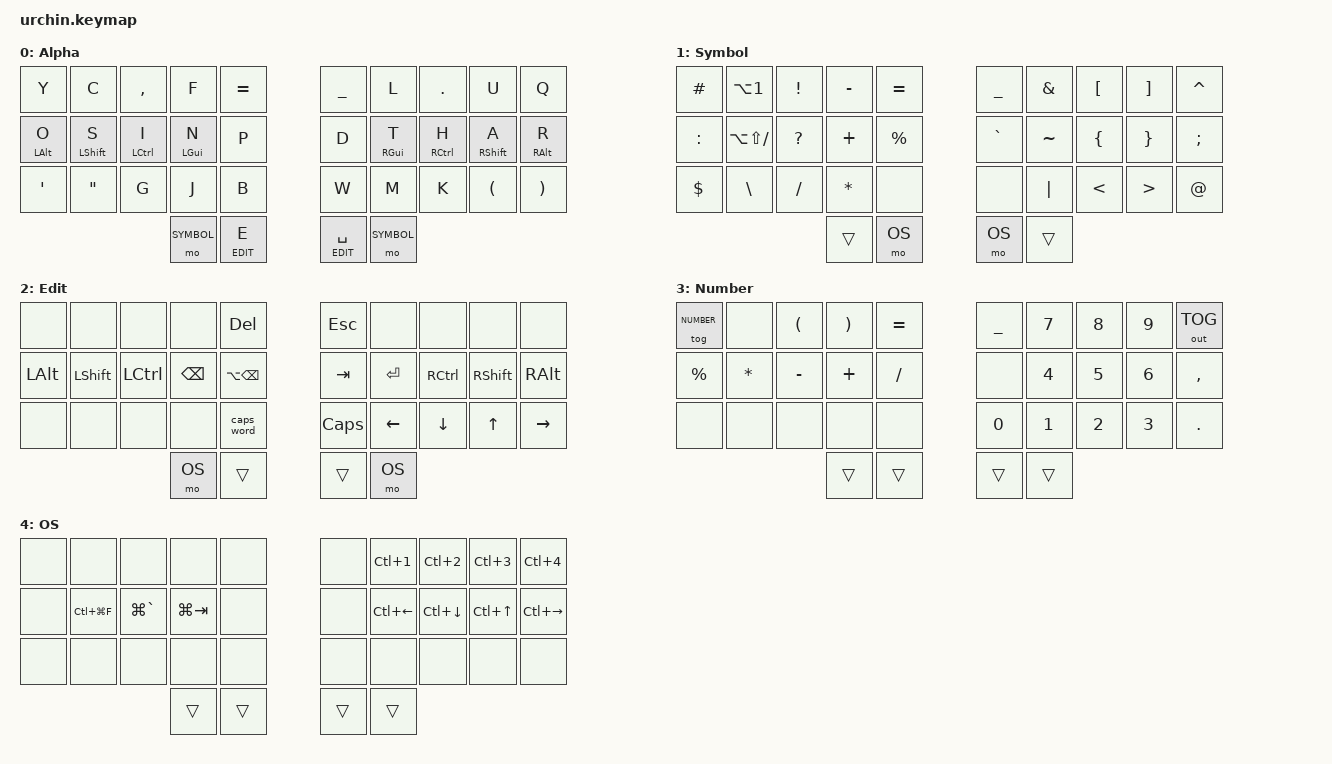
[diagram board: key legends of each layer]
/*
 * Urchin 34-key — Ztron base, macOS (ABC), EN/ES prose + Python
 *
 * SPDX-License-Identifier: MIT
 *
 * Key positions (row-major), as used by every positional list below:
 *
 *   0  1  2  3  4        5  6  7  8  9
 *  10 11 12 13 14       15 16 17 18 19
 *  20 21 22 23 24       25 26 27 28 29
 *           30 31       32 33
 *
 * Left:  0 pinky, 1 ring, 2 middle, 3 index, 4 inner index
 * Right: 5 inner index, 6 index, 7 middle, 8 ring, 9 pinky
 * Thumbs: 30 left outer, 31 left inner, 32 right inner, 33 right outer
 *
 * The keymap follows four rules:
 *
 *   1. The thumb row is two rules. Inner thumbs hold EDIT and tap their own
 *      character; outer thumbs hold SYMBOL. One outer plus one inner, opposite
 *      hands, gives OS; both outer together give NUMBER.
 *   2. Modifiers keep their alpha positions on every layer.
 *   3. Every key lives in exactly one place.
 *   4. Empty positions are deliberate.
 */

#include <behaviors.dtsi>
#include <dt-bindings/zmk/keys.h>
#include <dt-bindings/zmk/bt.h>
#include <dt-bindings/zmk/outputs.h>

// OS must be the highest index. It is activated on top of SYMBOL or EDIT, and
// ZMK resolves overlapping layers from the highest index downward, so anything
// above it would win instead and the layer would appear dead.
#define ALPHA  0
#define SYMBOL 1
#define EDIT   2
#define NUMBER 3
#define OS     4

// Home-row mod trigger lists: the opposite hand, plus every thumb.
#define RIGHT_HAND 5 6 7 8 9 15 16 17 18 19 25 26 27 28 29
#define LEFT_HAND  0 1 2 3 4 10 11 12 13 14 20 21 22 23 24
#define THUMBS     30 31 32 33

/ {
	behaviors {
		// Home-row mods, left hand. Cross-hand only: the positional
		// restriction is what keeps same-hand rolls (th, ha, in, si)
		// resolving as taps. require-prior-idle-ms disables the hold
		// outright mid-flow, so the long tapping term only ever
		// governs deliberate holds.
		hml: home_row_mod_left {
			compatible = "zmk,behavior-hold-tap";
			#binding-cells = <2>;
			bindings = <&kp>, <&kp>;
			flavor = "balanced";
			tapping-term-ms = <280>;
			quick-tap-ms = <175>;
			require-prior-idle-ms = <150>;
			hold-trigger-key-positions = <RIGHT_HAND THUMBS>;
			hold-trigger-on-release;
		};

		// Home-row mods, right hand.
		hmr: home_row_mod_right {
			compatible = "zmk,behavior-hold-tap";
			#binding-cells = <2>;
			bindings = <&kp>, <&kp>;
			flavor = "balanced";
			tapping-term-ms = <280>;
			quick-tap-ms = <175>;
			require-prior-idle-ms = <150>;
			hold-trigger-key-positions = <LEFT_HAND THUMBS>;
			hold-trigger-on-release;
		};

		// Thumb layer-tap, inner thumbs only (E and space). Not &lt:
		// that is tap-preferred, so the layer would only engage after
		// the full tapping term with no early resolution. No positional
		// restriction — EDIT spans both hands.
		//
		// require-prior-idle-ms is safe because this drives only the
		// two EDIT thumbs; SYMBOL is a plain &mo. While the same
		// behavior also carried SYMBOL the property would have blocked
		// that layer at exactly the moment you reached for it.
		elt: edit_layer_tap {
			compatible = "zmk,behavior-hold-tap";
			#binding-cells = <2>;
			bindings = <&mo>, <&kp>;
			flavor = "balanced";
			tapping-term-ms = <200>;
			quick-tap-ms = <175>;
			require-prior-idle-ms = <150>;
		};
	};

	combos {
		compatible = "zmk,combos";

		// Both outer thumbs together. They are pure &mo holds, so this
		// route to the digits involves no tap-versus-hold resolution
		// anywhere and is never gated by require-prior-idle-ms. The
		// cost is that both keys must land within the timeout; widen to
		// 60-70 ms if it misses. There is no false-positive risk, since
		// both outer thumbs are never pressed together for anything
		// else.
		cb_num {
			timeout-ms = <50>;
			key-positions = <30 33>;
			bindings = <&mo NUMBER>;
			layers = <ALPHA>;
		};

		// One outer thumb plus one inner thumb, opposite hands. Two
		// chords, one per hand orientation; the same-hand pairs (30+31,
		// 32+33) are deliberately absent, since a single thumb cannot
		// hit both cleanly.
		//
		// These are a fast path, not the only path: the &mo OS bindings
		// on the SYMBOL and EDIT thumbs still resolve the same
		// combination pressed slower than the timeout, so a missed
		// chord degrades into the sequential route rather than into
		// nothing.
		//
		// The cost is that positions 31 and 32 are now combo positions,
		// so E and Space are held back until the combo window closes.
		// The timeout is 40 ms rather than cb_num's 50 for that reason
		// — it is the delay you feel on every space. Original event
		// timestamps survive the capture, so the hold-tap's quick-tap
		// and require-prior-idle windows are unaffected.
		cb_os_l {
			timeout-ms = <40>;
			key-positions = <30 32>;   // left outer + right inner
			bindings = <&mo OS>;
			layers = <ALPHA>;
		};

		cb_os_r {
			timeout-ms = <40>;
			key-positions = <31 33>;   // left inner + right outer
			bindings = <&mo OS>;
			layers = <ALPHA>;
		};

		// Exactly three letter combos, one per letter the base layout
		// drops, each confined to a single hand so the opposite hand's
		// home-row mod can reach it (⌘Z, ⌘X, ⌘V). G, J, M and K form no
		// bigram in English, Spanish or Python.
		cb_v {
			timeout-ms = <40>;
			key-positions = <22 23>;   // G + J
			bindings = <&kp V>;
			layers = <ALPHA>;
		};

		// Tighter than the others: position 21 is the double quote, and
		// "config" / "debug" put a quote adjacent to G.
		cb_x {
			timeout-ms = <30>;
			key-positions = <21 22>;   // " + G
			bindings = <&kp X>;
			layers = <ALPHA>;
		};

		cb_z {
			timeout-ms = <40>;
			key-positions = <26 27>;   // M + K
			bindings = <&kp Z>;
			layers = <ALPHA>;
		};
	};

	keymap {
		compatible = "zmk,keymap";

		// Ztron alphas, quotes swapped ('  at 20, " at 21) for Black's
		// double-quoted Python strings. Home-row mods pinky-to-index:
		// ⌥ ⇧ ⌃ ⌘, mirrored.
		//
		// Inner thumbs hold EDIT and tap their own character; outer
		// thumbs hold SYMBOL. The outer thumbs are pure holds with no
		// tap value, deliberately: a plain &mo engages instantly with
		// no timing decision, which is what makes SYMBOL the fastest
		// layer to reach. Escape and Enter are not here — they live on
		// EDIT.
		alpha_layer {
			display-name = "Alpha";
			bindings = <
			&kp Y        &kp C         &kp COMMA     &kp F        &kp EQUAL       &kp UNDER  &kp L        &kp DOT       &kp U         &kp Q
			&hml LALT O  &hml LSHFT S  &hml LCTRL I  &hml LGUI N  &kp P           &kp D      &hmr RGUI T  &hmr RCTRL H  &hmr RSHFT A  &hmr RALT R
			&kp SQT      &kp DQT       &kp G         &kp J        &kp B           &kp W      &kp M        &kp K         &kp LPAR      &kp RPAR
			                                &mo SYMBOL  &elt EDIT E          &elt EDIT SPACE  &mo SYMBOL
			>;
		};

		// Hold either outer thumb. = at 4 and _ at 5 match ALPHA and
		// NUMBER, so !=, +=, >=, <= never leave this layer. Bracket
		// pairs stack in the right middle and ring columns. ¡ and ¿ are
		// macOS Option sequences — macOS only. Positions 24 and 25 are
		// free; ñ is the macOS Option dead key: hold right ⌥ (19), tap
		// N, release, tap N again.
		//
		// The inner thumbs carrying &mo OS is the sequential fallback
		// behind the cb_os_* chords: hold an outer thumb long enough
		// that the combo window has closed, and the opposite inner
		// thumb still reaches OS from here.
		symbol_layer {
			display-name = "Symbol";
			bindings = <
			&kp HASH   &kp LA(N1)         &kp EXCL   &kp MINUS  &kp EQUAL       &kp UNDER  &kp AMPS   &kp LBKT  &kp RBKT  &kp CARET
			&kp COLON  &kp LA(LS(FSLH))   &kp QMARK  &kp PLUS   &kp PRCNT       &kp GRAVE  &kp TILDE  &kp LBRC  &kp RBRC  &kp SEMI
			&kp DLLR   &kp BSLH           &kp FSLH   &kp ASTRK  &none           &none      &kp PIPE   &kp LT    &kp GT    &kp AT
			                                    &trans  &mo OS                       &mo OS  &trans
			>;
		};

		// Hold either inner thumb. One rule: the left hand deletes, the
		// right hand moves. Four mirrored pairs across the centreline —
		// 13/16 Backspace and Enter, 14/15 delete-word and Tab, 4/5 Del
		// and Esc, 24/25 caps-word and caps-lock (the same idea at two
		// scales, one auto-ending after a word, one sustained).
		//
		// Modifiers are bound explicitly, not &trans. &trans would
		// resolve to ALPHA's hml / hmr hold-taps, which carry a 280 ms
		// tapping term and a cross-hand positional restriction. On this
		// layer that means ⇧ plus a left-hand key — ⇧⌫ for instance —
		// is same-hand, fails the restriction, resolves as a tap, and
		// types the letter S into your document. Plain keycodes have no
		// such failure. The R variants match ALPHA exactly, so anything
		// that distinguishes left from right behaves the same on both.
		//
		// ⌘ is absent here and that is expected: it lives on the index
		// on both hands, which is where Backspace and Enter now are.
		// For ⌘⏎ or ⌘⌫, hold ⌘ on ALPHA first, then the thumb — a held
		// modifier persists through a layer change.
		//
		// Arrows on the right bottom row only; ⇧+arrow and ⌥+arrow work
		// cross-hand from the left. The empty left top and bottom rows
		// are deliberate: movement stays on one hand as one coherent
		// set, since splitting it would give two motor patterns for one
		// direction.
		edit_layer {
			display-name = "Edit";
			bindings = <
			&none      &none      &none      &none      &kp DEL          &kp ESC   &none     &none      &none      &none
			&kp LALT   &kp LSHFT  &kp LCTRL  &kp BSPC   &kp LA(BSPC)     &kp TAB   &kp RET   &kp RCTRL  &kp RSHFT  &kp RALT
			&none      &none      &none      &none      &caps_word       &kp CAPS  &kp LEFT  &kp DOWN   &kp UP     &kp RIGHT
			                                    &mo OS  &trans                        &trans  &mo OS
			>;
		};

		// Reached by the cb_num combo — both outer thumbs together.
		// Numpad on the right hand, so digits are pure cross-hand.
		// Parens live here because ALPHA 28 and 29 are 3 and . on this
		// layer.
		//
		// No modifiers: they only replicated what ALPHA already
		// provides. Hold ⌘ on ALPHA before entering for ⌘1-⌘9.
		// Operators sit on the home row where the modifiers used to be,
		// so both hands stay on home during arithmetic — 4 5 6 under
		// the right fingers, - + * under the left. % and / take the
		// pinky and inner-index stretches because they are used least.
		//
		// &tog NUMBER at position 0 latches the layer for sustained
		// entry; tap again to release. It is the only non-momentary
		// thing in the keymap and cannot strand you, since its
		// off-switch is the same key.
		//
		// Position 15 is &none, not Enter: Enter lives at EDIT 16 and
		// nowhere else. To press it mid-entry, release an outer thumb
		// and you drop to EDIT, where it is under your right index.
		number_layer {
			display-name = "Number";
			bindings = <
			&tog NUMBER  &none      &kp LPAR   &kp RPAR  &kp EQUAL       &kp UNDER  &kp N7  &kp N8  &kp N9  &out OUT_TOG
			&kp PRCNT    &kp ASTRK  &kp MINUS  &kp PLUS  &kp FSLH        &none      &kp N4  &kp N5  &kp N6  &kp COMMA
			&none        &none      &none      &none     &none           &kp N0     &kp N1  &kp N2  &kp N3  &kp DOT
			                                   &trans  &trans                  &trans  &trans
			>;
		};

		// Reached by the cb_os_l / cb_os_r combos — one outer thumb and
		// one inner thumb on opposite hands, in either order. Press
		// them slower than the combo window and the &mo OS bindings on
		// the SYMBOL and EDIT thumbs land you in the same place.
		//
		// Right home row is spaces and overview: macOS gives ⌃← / ⌃→
		// for adjacent spaces, ⌃↑ for Mission Control and ⌃↓ for App
		// Exposé — four functions that are already exactly an arrow
		// cluster, landing on hjkl fingers. Right top row jumps to a
		// numbered desktop; these are off by default in macOS (System
		// Settings → Keyboard → Keyboard Shortcuts → Mission Control,
		// tick "Switch to Desktop N").
		//
		// Left home row is apps and windows: ⌃⌘F fullscreen, ⌘` cycles
		// windows within the current app, ⌘⇥ toggles to the previous
		// app. ⌘⇥ as a single press cannot cycle further — that needs
		// the key held.
		//
		// Everything else is deliberately empty. ⌘W, ⌘Q, ⌘M, ⌘H and
		// ⌘Space are all a modifier plus an ALPHA letter, already easy
		// cross-hand.
		os_layer {
			display-name = "OS";
			bindings = <
			&none  &none          &none          &none        &none       &none  &kp LC(N1)    &kp LC(N2)    &kp LC(N3)  &kp LC(N4)
			&none  &kp LC(LG(F))  &kp LG(GRAVE)  &kp LG(TAB)  &none       &none  &kp LC(LEFT)  &kp LC(DOWN)  &kp LC(UP)  &kp LC(RIGHT)
			&none  &none          &none          &none        &none       &none  &none         &none         &none       &none
			                                     &trans  &trans                &trans  &trans
			>;
		};

	};
};
